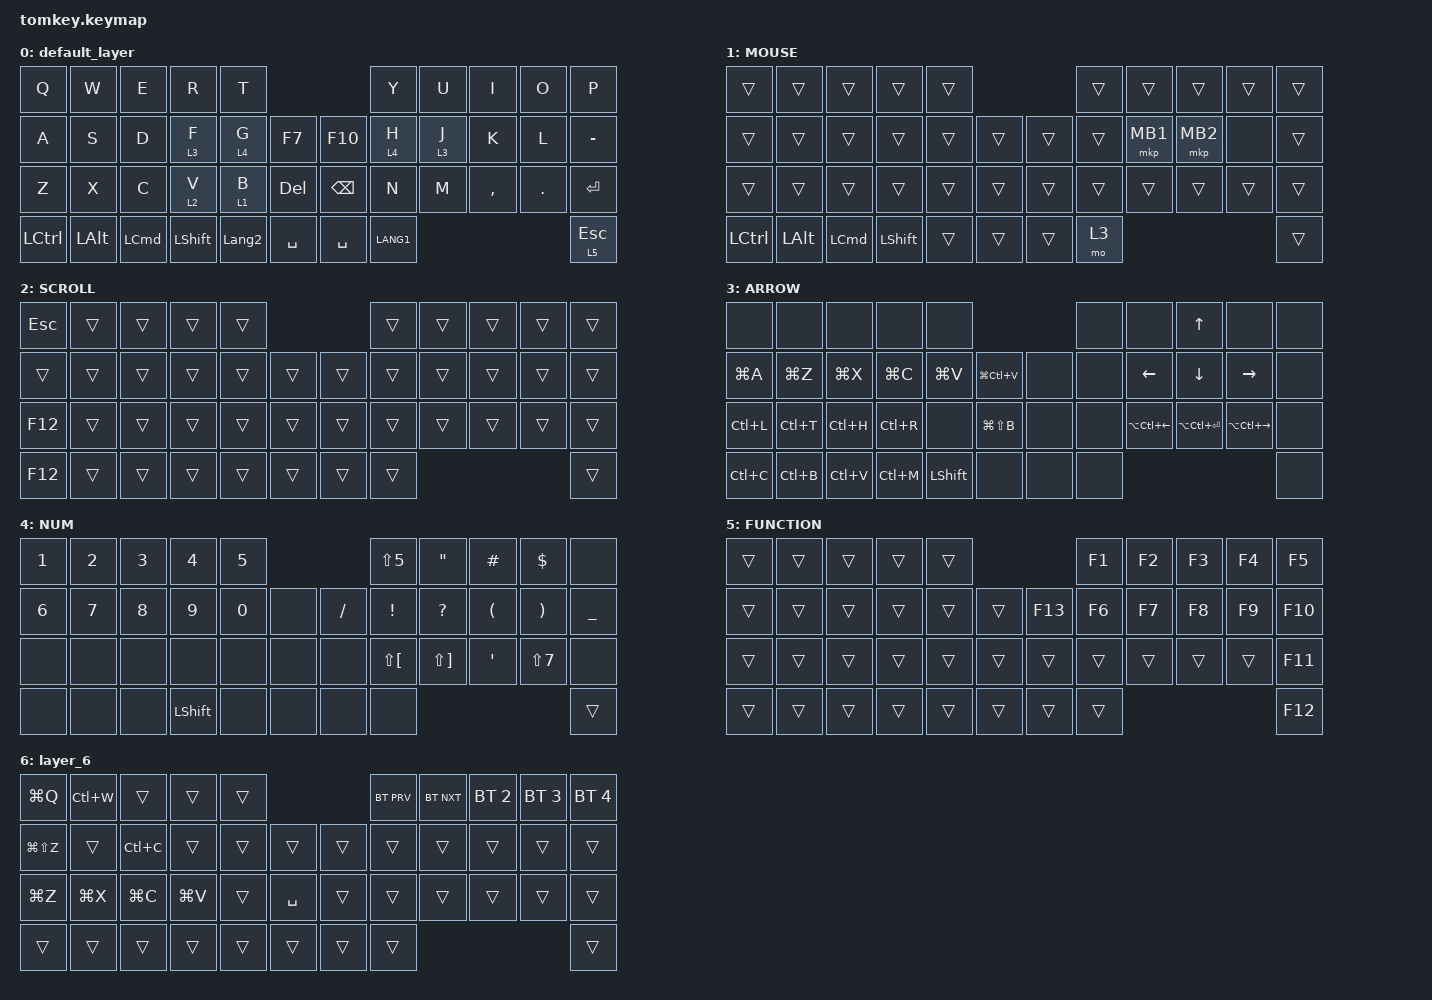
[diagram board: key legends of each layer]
#include <behaviors.dtsi>
#include <dt-bindings/zmk/bt.h>
#include <dt-bindings/zmk/keys.h>
#include <dt-bindings/zmk/pointing.h>

/ {
    combos {
        compatible = "zmk,combos";

        LEFTHALF {
            bindings = <&none>;
            key-positions = <34 35 18>;
        };
    };

    macros {
        CTRL_OPT_LEFT: CTRL_OPT_LEFT {
            compatible = "zmk,behavior-macro";
            #binding-cells = <0>;
            bindings =
                <&macro_press>,
                <&kp LCTRL &kp LALT &kp LEFT>,
                <&macro_release>;

            label = "CTRL_OPT_LEFT";
        };
    };

    keymap {
        compatible = "zmk,keymap";

        default_layer {
            bindings = <
&kp Q      &kp W         &kp E             &kp R           &kp T                                          &kp Y      &kp U    &kp I      &kp O    &kp P
&kp A      &kp S         &kp D             &lt 3 F         &lt 4 G         &kp F7          &kp F10        &lt 4 H    &lt 3 J  &kp K      &kp L    &kp MINUS
&kp Z      &kp X         &kp C             &lt 2 V         &lt 1 B         &kp DELETE      &kp BACKSPACE  &kp N      &kp M    &kp COMMA  &kp DOT  &kp ENTER
&kp LCTRL  &kp LEFT_ALT  &kp LEFT_COMMAND  &kp LEFT_SHIFT  &kp LANGUAGE_2  &kp SPACE       &kp SPACE      &kp LANG1                               &lt 5 ESCAPE
            >;
        };

        MOUSE {
            bindings = <
&trans     &trans        &trans            &trans          &trans                      &trans  &trans    &trans    &trans  &trans
&trans     &trans        &trans            &trans          &trans  &trans      &trans  &trans  &mkp MB1  &mkp MB2  &none   &trans
&trans     &trans        &trans            &trans          &trans  &trans      &trans  &trans  &trans    &trans    &trans  &trans
&kp LCTRL  &kp LEFT_ALT  &kp LEFT_COMMAND  &kp LEFT_SHIFT  &trans  &trans      &trans  &mo 3                               &trans
            >;
        };

        SCROLL {
            bindings = <
&kp ESCAPE  &trans  &trans  &trans  &trans                      &trans  &trans  &trans  &trans  &trans
&trans      &trans  &trans  &trans  &trans  &trans      &trans  &trans  &trans  &trans  &trans  &trans
&kp F12     &trans  &trans  &trans  &trans  &trans      &trans  &trans  &trans  &trans  &trans  &trans
&kp F12     &trans  &trans  &trans  &trans  &trans      &trans  &trans                          &trans
            >;
        };

        ARROW {
            bindings = <
&none      &none      &none      &none      &none                                     &none  &none             &kp UP_ARROW       &none              &none
&kp LG(A)  &kp LG(Z)  &kp LG(X)  &kp LG(C)  &kp LG(V)       &kp LG(LC(V))      &none  &none  &kp LEFT_ARROW    &kp DOWN_ARROW     &kp RIGHT_ARROW    &none
&kp LC(L)  &kp LC(T)  &kp LC(H)  &kp LC(R)  &none           &kp LG(LS(B))      &none  &none  &kp LA(LC(LEFT))  &kp LA(LC(ENTER))  &kp LA(LC(RIGHT))  &none
&kp LC(C)  &kp LC(B)  &kp LC(V)  &kp LC(M)  &kp LEFT_SHIFT  &none              &none  &none                                                          &none
            >;
        };

        NUM {
            bindings = <
&kp NUMBER_1  &kp NUMBER_2  &kp NUMBER_3  &kp NUMBER_4    &kp NUMBER_5                        &kp LS(N5)    &kp DOUBLE_QUOTES  &kp HASH              &kp DOLLAR             &none
&kp NUMBER_6  &kp NUMBER_7  &kp NUMBER_8  &kp NUMBER_9    &kp NUMBER_0  &none      &kp SLASH  &kp EXCL      &kp QUESTION       &kp LEFT_PARENTHESIS  &kp RIGHT_PARENTHESIS  &kp UNDERSCORE
&none         &none         &none         &none           &none         &none      &none      &kp LS(LBKT)  &kp LS(RBKT)       &kp SINGLE_QUOTE      &kp LS(N7)             &none
&none         &none         &none         &kp LEFT_SHIFT  &none         &none      &none      &none                                                                         &trans
            >;
        };

        FUNCTION {
            bindings = <
&trans  &trans  &trans  &trans  &trans                       &kp F1  &kp F2  &kp F3  &kp F4  &kp F5
&trans  &trans  &trans  &trans  &trans  &trans      &kp F13  &kp F6  &kp F7  &kp F8  &kp F9  &kp F10
&trans  &trans  &trans  &trans  &trans  &trans      &trans   &trans  &trans  &trans  &trans  &kp F11
&trans  &trans  &trans  &trans  &trans  &trans      &trans   &trans                          &kp F12
            >;
        };

        layer_6 {
            bindings = <
&kp LG(Q)      &kp LC(W)  &trans     &trans     &trans                         &bt BT_PRV  &bt BT_NXT  &bt BT_SEL 2  &bt BT_SEL 3  &bt BT_SEL 4
&kp LG(LS(Z))  &trans     &kp LC(C)  &trans     &trans  &trans         &trans  &trans      &trans      &trans        &trans        &trans
&kp LG(Z)      &kp LG(X)  &kp LG(C)  &kp LG(V)  &trans  &kp SPACE      &trans  &trans      &trans      &trans        &trans        &trans
&trans         &trans     &trans     &trans     &trans  &trans         &trans  &trans                                              &trans
            >;
        };
    };
};
